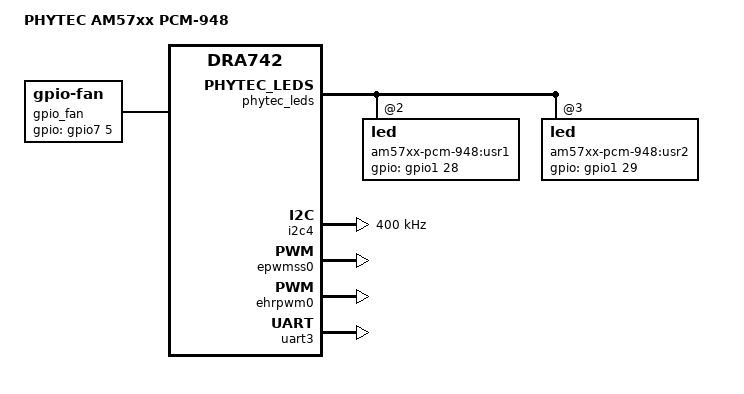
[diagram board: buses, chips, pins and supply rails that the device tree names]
/*
 * Copyright (C) 2014 Texas Instruments Incorporated - http://www.ti.com/
 *
 * This program is free software; you can redistribute it and/or modify
 * it under the terms of the GNU General Public License version 2 as
 * published by the Free Software Foundation.
 */
/ {
	model = "PHYTEC AM57xx PCM-948";
	compatible = "phytec,am57xx-pcm-948", "phytec,am57xx-phycore-som", "ti,am5728", "ti,dra742", "ti,dra74", "ti,dra7";

	hdmi0: connector {
		compatible = "hdmi-connector";
		status = "disabled";
		label = "hdmi";

		type = "a";

		port {
			hdmi_connector_in: endpoint {
				remote-endpoint = <&tpd12s521_out>;
			};
		};
	};

	tpd12s521: encoder {
		compatible = "ti,tpd12s521";
		status = "disabled";

		gpios = <&gpio7 12 GPIO_ACTIVE_HIGH>;	/* gpio7_12/sp1_cs2, HPD */

		ports {
			#address-cells = <1>;
			#size-cells = <0>;

			port@0 {
				reg = <0>;

				tpd12s521_in: endpoint {
					remote-endpoint = <&hdmi_out>;
				};
			};

			port@1 {
				reg = <1>;

				tpd12s521_out: endpoint {
					remote-endpoint = <&hdmi_connector_in>;
				};
			};
		};
	};

	rdk_audio: sound {
		compatible = "simple-audio-card";
		status = "disabled";
		simple-audio-card,name = "phyCORE-AM57xx-RDK";
		simple-audio-card,widgets =
			"Line", "Line Out",
			"Line", "Line In",
			"Microphone", "Mic Jack",
			"Headphone", "HP Jack";
		simple-audio-card,routing =
			"Line Out",	"LLOUT",
			"Line Out",	"RLOUT",

			"LINE1R",	"Line In",
			"LINE1R",	"Line In",

			"MIC3L",	"Mic Jack",
			"MIC3R",	"Mic Jack",
			"Mic Jack",	"Mic Bias",

			"HP Jack",	"HPLOUT",
			"HP Jack",	"HPROUT";
		simple-audio-card,format = "dsp_b";
		simple-audio-card,bitclock-master = <&sound_master>;
		simple-audio-card,frame-master = <&sound_master>;
		simple-audio-card,bitclock-inversion;

		simple-audio-card,cpu {
			sound-dai = <&mcasp1>;
		};

		sound_master: simple-audio-card,codec {
			sound-dai = <&tlv320aic3007>;
			clocks = <&clkout2_clk>;
		};
	};

	gpio_fan: gpio_fan {
		compatible = "gpio-fan";
		pinctrl-names = "default";
		pinctrl-0 = <&fan_pins_default>;

		gpios =  <&gpio7 5 GPIO_ACTIVE_HIGH>;
		gpio-fan,speed-map = <0    0
				      13000 1>;
		cooling-min-state = <0>;
		cooling-max-state = <1>;
		#cooling-cells = <2>;
	};

};

&dra7_pmx_core {
	leds_cb_pins_default: leds_cb_pins_default {
		pinctrl-single,pins = <
			0x58 (PIN_OUTPUT | MUX_MODE14)	/* gpmc_a6.gpio1_28 */
			0x5c (PIN_OUTPUT | MUX_MODE14)	/* gpmc_a7.gpio1_29 */
		>;
	};

	leds_cb_pins_sleep: leds_cb_pins_sleep {
		pinctrl-single,pins = <
			0x58 (PIN_INPUT_PULLDOWN | MUX_MODE15)
			0x5c (PIN_INPUT_PULLDOWN | MUX_MODE15)
		>;
	};

	fan_pins_default: fan_pins_default {
		pinctrl-single,pins = <
			0x48 (PIN_OUTPUT | MUX_MODE14)	/* gpmc_a2.gpio7_5 */
		>;
	};

	i2c2_pins: pinmux_i2c2_pins {
		pinctrl-single,pins = <
			0x408 (PIN_INPUT | MUX_MODE1)	/* hdmi1_ddc_scl */
			0x40c (PIN_INPUT | MUX_MODE1)	/* hdmi1_ddc_sda */
		>;
	};

	i2c4_pins_default: i2c4_pins_default {
		pinctrl-single,pins = <
			0x40 (PIN_INPUT_PULLUP | MUX_MODE7)	/* gpmc_a0.i2c4_scl */
			0x44 (PIN_INPUT_PULLUP | MUX_MODE7)	/* gpmc_a1.i2c4_sda */
		>;
	};

	i2c4_pins_sleep: i2c4_pins_sleep {
		pinctrl-single,pins = <
			0x40 (PIN_INPUT | MUX_MODE15)
			0x44 (PIN_INPUT | MUX_MODE15)
		>;
	};

	uart3_pins_default: uart3_pins_default {
		pinctrl-single,pins = <
			0x248 (PIN_INPUT_SLEW | MUX_MODE0) /* uart3_rxd.rxd */
			0x24c (PIN_INPUT_SLEW | MUX_MODE0) /* uart3_txd.txd */
		>;
	};

	uart3_pins_sleep: uart3_pins_sleep{
		pinctrl-single,pins = <
			0x248 (PIN_INPUT | MUX_MODE15)
			0x24c (PIN_INPUT | MUX_MODE15)
		>;
	};

	uart5_pins_default: uart5_pins_default {
		pinctrl-single,pins = <
			0x1dc (PIN_INPUT_SLEW | MUX_MODE2) /* vout1_d0.uart5_rxd */
			0x1e0 (PIN_INPUT_SLEW | MUX_MODE2) /* vout1_d1.uart5_txd */
		>;
	};

	uart5_pins_sleep: uart5_pins_sleep{
		pinctrl-single,pins = <
			0x1dc (PIN_INPUT | MUX_MODE15)
			0x1e0 (PIN_INPUT | MUX_MODE15)
		>;
	};


	mmc1_pins_default: mmc1_pins_default {
		pinctrl-single,pins = <
			0x36c (PIN_INPUT | MUX_MODE14)	/* mmc1sdcd.gpio6_27 */
			0x354 (PIN_INPUT_PULLUP | MUX_MODE0) /* mmc1_clk.clk */
			0x358 (PIN_INPUT_PULLUP | MUX_MODE0) /* mmc1_cmd.cmd */
			0x35c (PIN_INPUT_PULLUP | MUX_MODE0) /* mmc1_dat0.dat0 */
			0x360 (PIN_INPUT_PULLUP | MUX_MODE0) /* mmc1_dat1.dat1 */
			0x364 (PIN_INPUT_PULLUP | MUX_MODE0) /* mmc1_dat2.dat2 */
			0x368 (PIN_INPUT_PULLUP | MUX_MODE0) /* mmc1_dat3.dat3 */
		>;
	};

	mmc1_pins_sleep: mmc1_pins_sleep {
		pinctrl-single,pins = <
			0x354 (PIN_INPUT | MUX_MODE15)
			0x358 (PIN_INPUT | MUX_MODE15)
			0x35c (PIN_INPUT | MUX_MODE15)
			0x360 (PIN_INPUT | MUX_MODE15)
			0x364 (PIN_INPUT | MUX_MODE15)
			0x368 (PIN_INPUT | MUX_MODE15)
			0x36c (PIN_INPUT | MUX_MODE15)
		>;
	};

	mmc1_pins_hs: mmc1_pins_hs {
		pinctrl-single,pins = <
			0x354 (PIN_INPUT_PULLUP | MUX_VIRTUAL_MODE11 | MUX_MODE0)       /* mmc1_clk.clk */
			0x358 (PIN_INPUT_PULLUP | MUX_VIRTUAL_MODE11 | MUX_MODE0)       /* mmc1_cmd.cmd */
			0x35c (PIN_INPUT_PULLUP | MUX_VIRTUAL_MODE11 | MUX_MODE0)       /* mmc1_dat0.dat0 */
			0x360 (PIN_INPUT_PULLUP | MUX_VIRTUAL_MODE11 | MUX_MODE0)       /* mmc1_dat1.dat1 */
			0x364 (PIN_INPUT_PULLUP | MUX_VIRTUAL_MODE11 | MUX_MODE0)       /* mmc1_dat2.dat2 */
			0x368 (PIN_INPUT_PULLUP | MUX_VIRTUAL_MODE11 | MUX_MODE0)       /* mmc1_dat3.dat3 */
		>;
	};

	wlan_pins_default: wlan_pins_default {
		pinctrl-single,pins = <
			0x39c (PIN_OUTPUT_PULLDOWN | MUX_MODE14) /* mmc3_dat6.gpio1_24 */
			0x3a0 (PIN_INPUT_PULLDOWN | MUX_MODE14)  /* mmc3_dat7.gpio1_25 */
		>;
	};

	bt_pins_default: bt_pins_default {
		pinctrl-single,pins = <
			0x170 (PIN_INPUT_SLEW | MUX_MODE8) /* vin2a_d2.uart10.rxd */
			0x174 (PIN_INPUT_SLEW | MUX_MODE8) /* vin2a_d3.uart10.txd */
			0x178 (PIN_INPUT_SLEW | MUX_MODE8) /* vin2a_d4.uart10.ctsn */
			0x17c (PIN_INPUT_SLEW | MUX_MODE8) /* vin2a_d5.uart10.rtsn */
			0x394 (PIN_OUTPUT_PULLDOWN | MUX_MODE14) /* mmc3_dat4.gpio1_22 */
		>;
	};

	bt_pins_sleep: bt_pins_sleep {
		pinctrl-single,pins = <
			0x170 (PIN_INPUT | MUX_MODE15)
			0x174 (PIN_INPUT | MUX_MODE15)
			0x178 (PIN_INPUT | MUX_MODE15)
			0x17c (PIN_INPUT | MUX_MODE15)
			0x394 (PIN_OUTPUT_PULLUP | MUX_MODE14)
		>;
	};

	emac1_pins_default: emac1_pins_default {
		pinctrl-single,pins = <
			/* Slave 2 */
			0x198 (PIN_OUTPUT | MUX_MODE3)	/* rgmii2_tclk */
			0x19c (PIN_OUTPUT | MUX_MODE3)	/* rgmii2_tctl */
			0x1a0 (PIN_OUTPUT | MUX_MODE3)	/* rgmii2_td3 */
			0x1a4 (PIN_OUTPUT | MUX_MODE3)	/* rgmii2_td2 */
			0x1a8 (PIN_OUTPUT | MUX_MODE3)	/* rgmii2_td1 */
			0x1ac (PIN_OUTPUT | MUX_MODE3)	/* rgmii2_td0 */
			0x1b0 (PIN_INPUT | MUX_MODE3)	/* rgmii2_rclk */
			0x1b4 (PIN_INPUT | MUX_MODE3)	/* rgmii2_rctl */
			0x1b8 (PIN_INPUT | MUX_MODE3)	/* rgmii2_rd3 */
			0x1bc (PIN_INPUT | MUX_MODE3)	/* rgmii2_rd2 */
			0x1c0 (PIN_INPUT | MUX_MODE3)	/* rgmii2_rd1 */
			0x1c4 (PIN_INPUT | MUX_MODE3)	/* rgmii2_rd0 */
		>;

	};

	emac1_pins_sleep: emac1_pins_sleep {
		pinctrl-single,pins = <
			/* Slave 2 */
			0x198 (PIN_INPUT | MUX_MODE15)
			0x19c (PIN_INPUT | MUX_MODE15)
			0x1a0 (PIN_INPUT | MUX_MODE15)
			0x1a4 (PIN_INPUT | MUX_MODE15)
			0x1a8 (PIN_INPUT | MUX_MODE15)
			0x1ac (PIN_INPUT | MUX_MODE15)
			0x1b0 (PIN_INPUT | MUX_MODE15)
			0x1b4 (PIN_INPUT | MUX_MODE15)
			0x1b8 (PIN_INPUT | MUX_MODE15)
			0x1bc (PIN_INPUT | MUX_MODE15)
			0x1c0 (PIN_INPUT | MUX_MODE15)
			0x1c4 (PIN_INPUT | MUX_MODE15)
		>;
	};

	hdmi_pins: pinmux_hdmi_pins {
		pinctrl-single,pins = <
			0x3b8 (PIN_INPUT_PULLDOWN | MUX_MODE14) /* spi1_cs2.gpio7_12 */
			0x3bc (PIN_INPUT_SLEW | MUX_MODE6)      /* spi1_cs3.hdmi1_cec */
		>;
	};

	usb1_pins: pinmux_usb1_pins {
		pinctrl-single,pins = <
			0x280 (PIN_INPUT_SLEW | MUX_MODE0) /* usb1_drvvbus */
			0x22c (PIN_INPUT | MUX_MODE14)     /* vout1_d20.gpio8_20 */
		>;
	};

	usb2_pins_default: pinmux_usb2_pins_default {
		pinctrl-single,pins = <
			0x1d0 (PIN_INPUT | MUX_MODE14)	   /* vout1_fld.gpio4_21 */
			0x284 (PIN_INPUT_SLEW | MUX_MODE0) /* usb2_drvvbus */
			0x230 (PIN_INPUT | MUX_MODE14)     /* vout1_d21.gpio8_21 */
		>;
	};

	usb2_pins_sleep: pinmux_usb2_pins_sleep {
		pinctrl-single,pins = <
			0x1d0 (PIN_INPUT | MUX_MODE14)	   /* vout1_fld.gpio4_21 */
			0x284 (PIN_INPUT_SLEW | MUX_MODE15) /* usb2_drvvbus */
			0x230 (PIN_INPUT | MUX_MODE14)     /* vout1_d21.gpio8_21 */
		>;
	};

	extcon_pins_default:  extcon_pins_default {
		pinctrl-single,pins = <
			0x1f4 (PIN_INPUT | MUX_MODE14) /* vout1_d6.gpio8_6 */
		>;
	};

	clkout2_pins_default: clkout2_pins_default {
		pinctrl-single,pins = <
			0x294 (PIN_INPUT_PULLDOWN | MUX_MODE9)	/* xref_clk0.clkout2 */
		>;
	};

	clkout2_pins_sleep: clkout2_pins_sleep {
		pinctrl-single,pins = <
			0x294 (PIN_INPUT | MUX_MODE15)	/* xref_clk0.clkout2 */
		>;
	};

	dcan1_pins: dcan1_pins {
		pinctrl-single,pins = <
			0x3d0 (PIN_OUTPUT_PULLUP | MUX_MODE0) /* dcan1_tx.tx */
			0x3d4 (PIN_INPUT_PULLUP | MUX_MODE0) /* dcan1_rx.rx */
		>;
	};

	dcan2_pins: dcan2_pins {
		pinctrl-single,pins = <
			0x288 (PIN_OUTPUT_PULLUP | MUX_MODE2) /* gpio6_14.dcan2_tx */
			0x28c (PIN_INPUT_PULLUP | MUX_MODE2) /* gpio6_15.dcan2_rx */
		>;
	};

	mcasp1_pins_default: mcasp1_pins_default {
		pinctrl-single,pins = <
			0x2a4 (PIN_INPUT_PULLDOWN | MUX_MODE0) /* mcasp1_aclkx.aclkx */
			0x2a8 (PIN_INPUT_PULLDOWN | MUX_MODE0) /* mcasp1_fsx.fsx */
			0x2ec (PIN_OUTPUT_PULLDOWN | MUX_MODE0) /* mcasp1_axr14.axr14 */
			0x2f0 (PIN_INPUT_PULLDOWN | MUX_MODE0) /* mcasp1_axr15.axr15 */
		>;
	};

	mcasp1_pins_sleep: mcasp1_pins_sleep {
		pinctrl-single,pins = <
			0x2a4 (PIN_INPUT | MUX_MODE15)
			0x2a8 (PIN_INPUT | MUX_MODE15)
			0x2ec (PIN_INPUT | MUX_MODE15)
			0x2f0 (PIN_INPUT | MUX_MODE15)
		>;
	};

	ehrpwm1a_pin: ehrpwm1a_pin {
		pinctrl-single,pins = <
			0xf4 (PIN_OUTPUT_PULLDOWN | MUX_MODE10) /* vin1a_d0.ehrpwm1A */
		>;
	};

	edt_ts_irq_pin: edt_ts_irq_pin {
		pinctrl-single,pins = <
			0x234 (PIN_INPUT_PULLUP | MUX_MODE14) /* vout1_d22.gpio8_22 */
		>;
	};

	display_en_pin: display_en_pin {
		pinctrl-single,pins = <
			0x238 (PIN_OUTPUT_PULLDOWN | MUX_MODE14) /* vout1_d23.gpio8_23 */
		>;
	};

	pcie1_pins: pcie1_pins {
		pinctrl-single,pins = <
			0x1e8 (PIN_INPUT | MUX_MODE14)	/* vout1_d3.gpio8_3 */
			0x1ec (PIN_OUTPUT_PULLDOWN | MUX_MODE14) /* vout1_d4.gpio8_4 */
			0x1f0 (PIN_INPUT | MUX_MODE14)	/* vout1_d5.gpio8_5 */
			0x1f8 (PIN_OUTPUT | MUX_MODE14)	/* vout1_d7.gpio8_7 */
		>;
	};

};

&phytec_leds {
		pinctrl-0 = <&leds_som_pins_default &leds_cb_pins_default>;

		led@2 {
			label = "am57xx-pcm-948:usr1";
			gpios = <&gpio1 28 GPIO_ACTIVE_HIGH>;
			linux,default-trigger = "gpio";
			default-state = "off";
		};

		led@3 {
			label = "am57xx-pcm-948:usr2";
			gpios = <&gpio1 29 GPIO_ACTIVE_HIGH>;
			linux,default-trigger = "gpio";
			default-state = "off";
		};
};

&tps659038 {
	tps659038_usb: tps659038_usb {
		status = "disabled";
		compatible = "ti,palmas-usb-vid";
		pinctrl-names = "default";
		pinctrl-0 = <&extcon_pins_default>;
		ti,enable-vbus-detection;
		ti,enable-id-detection;
		id-gpios = <&gpio8 6 GPIO_ACTIVE_HIGH>;
	};
};

&i2c4 {
	status = "okay";
	pinctrl-names = "default", "sleep";
	pinctrl-0 = <&i2c4_pins_default>;
	pinctrl-1 = <&i2c4_pins_sleep>;
	clock-frequency = <400000>;

	tlv320aic3007: tlv320aic3007@18 {
		#sound-dai-cells = <0>;
		compatible = "ti,tlv320aic3007";
		reg = <0x18>;
		pinctrl-names = "default", "sleep";
		pinctrl-0 = <&clkout2_pins_default>;
		pinctrl-1 = <&clkout2_pins_sleep>;
		status = "disabled";
		ai3x-micbias-vg = <2>;
		adc-settle-ms = <40>;

		AVDD-supply = <&vdd_3v3>;
		IOVDD-supply = <&vdd_3v3>;
		DRVDD-supply = <&vdd_3v3>;
		DVDD-supply = <&aic_dvdd>;
	};

	ft5406: ft5406@38 {
		pinctrl-names = "default";
		pinctrl-0 = <&edt_ts_irq_pin>;
		interrupt-parent = <&gpio8>;
		interrupts = <22 0>;
		status = "disabled";
	};

	stmpe811: stmpe811@41 {
		compatible = "st,stmpe811";
		status = "disabled";
		reg = <0x41>;
		interrupt-parent = <&gpio6>;
		interrupts = <4 IRQ_TYPE_LEVEL_LOW>;
		interrupt-controller;

		wakeup-source;
		st,autosleep-timeout = <1024>;

		stmpe_touchscreen {
			compatible = "st,stmpe-ts";
			st,sample-time = <4>;
			st,mod-12b = <1>;
			st,ref-sel = <0>;
			st,adc-freq = <1>;
			st,ave-ctrl = <1>;
			st,touch-det-delay = <2>;
			st,settling = <2>;
			st,fraction-z = <7>;
			st,i-drive = <1>;
		};
	};
};

&epwmss0 {
	status = "okay";
};

/* ehrpwm0 maps to EHRPWM1 signal name */
&ehrpwm0 {
	status = "okay";
};

#include "am57xx-phytec-lcd-018.dtsi"

&lcd0 {
	status = "disabled";
	pinctrl-names = "default";
	pinctrl-0 = <&lcd_pins &display_en_pin>;

	enable-gpios = <&gpio8 23 GPIO_ACTIVE_LOW>;
};

&backlight {
	status = "disabled";
	pinctrl-names = "default";
	pinctrl-0 = <&ehrpwm1a_pin>;

	pwms = <&ehrpwm0 0 50000 0>;
};

&uart3 {
        status = "okay";
        pinctrl-names = "default";
        pinctrl-0 = <&uart3_pins_default>;

	interrupts-extended = <&crossbar_mpu GIC_SPI 69 IRQ_TYPE_LEVEL_HIGH
			       &dra7_pmx_core 0x248>;
};

&uart5 {
        status = "disabled";
        pinctrl-names = "default", "sleep";
        pinctrl-0 = <&uart5_pins_default>;
        pinctrl-1 = <&uart5_pins_sleep>;

	interrupts-extended = <&crossbar_mpu GIC_SPI 100 IRQ_TYPE_LEVEL_HIGH
			       &dra7_pmx_core 0x1dc>;
};

&mac {
	slaves = <2>;
	pinctrl-names = "default", "sleep";
	pinctrl-0 = <&emac0_pins_default &emac1_pins_default>;
	pinctrl-1 = <&emac0_pins_sleep &emac1_pins_sleep>;
	dual_emac;
};

&cpsw_emac1 {
	phy_id = <&davinci_mdio>, <2>;
	phy-mode = "rgmii";
	dual_emac_res_vlan = <2>;
	status = "disabled";
};

&mmc1 {
	status = "disabled";
	pinctrl-names = "default", "sleep", "hs";
	pinctrl-0 = <&mmc1_pins_default>;
	pinctrl-1 = <&mmc1_pins_sleep>;
	pinctrl-2 = <&mmc1_pins_hs>;
	vmmc-supply = <&ldo1_reg>;
	bus-width = <4>;
	cd-gpios = <&gpio6 27 0>; /* gpio 219 */
	max-frequency = <96000000>;
};

#include "am57xx-phytec-wlan-wilink8.dtsi"

&wlan_fixed {
	pinctrl-names = "default";
	pinctrl-0 = <&wlan_pins_default>;

	gpio = <&gpio1 24 GPIO_ACTIVE_HIGH>;
	enable-active-high;
};

&wlcore {
	interrupt-parent = <&gpio1>;
	interrupts = <25 IRQ_TYPE_EDGE_RISING>;
};

&bt_kim {
	pinctrl-names = "default", "sleep";
	pinctrl-0 = <&bt_pins_default>;
	pinctrl-1 = <&bt_pins_sleep>;
	nshutdown_gpio = <22>;  /* GPIO1_22 */
	dev_name = "/dev/ttyS9"; /* UART10 for BT */
};

&dss {
	vdda_video-supply = <&ldoln_reg>;
};

&hdmi {
	status = "disabled";
	vdda-supply = <&ldo4_reg>;
	pinctrl-names = "default";
	pinctrl-0 = <&hdmi_pins &i2c2_pins>;

	port {
		hdmi_out: endpoint {
			remote-endpoint = <&tpd12s521_in>;
		};
	};
};

&pcie1 {
	status = "disabled";
	pinctrl-names = "default";
	pinctrl-0 = <&pcie1_pins>;

/* FIXME (RR): pci-dra7xx driver ignores the GPIO_ACTIVE_ flags
 *             and only cares about pcie-reset-active-low */
	pcie-reset-active-low;
	pcie-clk-oe-gpio = <&gpio8 7 GPIO_ACTIVE_HIGH>;
	pcie-reset-gpio = <&gpio8 4 GPIO_ACTIVE_LOW>; /* PWRGD (X27-A11) */
};

&usb2_phy1 {
       phy-supply = <&ldousb_reg>;
};

&usb2_phy2 {
       phy-supply = <&ldousb_reg>;
};

&usb1 {
	status = "disabled";
	dr_mode = "host";
	pinctrl-names = "default";
	pinctrl-0 = <&usb1_pins>;
};

&omap_dwc3_2 {
	status = "disabled";
	extcon = <&tps659038_usb>;
};

&usb2 {
	status = "disabled";
	pinctrl-names = "default", "sleep";
	pinctrl-0 = <&usb2_pins_default>;
	pinctrl-1 = <&usb2_pins_sleep>;
};

&dcan1 {
	status = "disabled";
	pinctrl-names = "default";
	pinctrl-0 = <&dcan1_pins>;
};

&dcan2 {
	status = "disabled";
	pinctrl-names = "default";
	pinctrl-0 = <&dcan2_pins>;
};

&mcasp1 {
	#sound-dai-cells = <0>;
	status = "disabled";
	pinctrl-names = "default", "sleep";
	pinctrl-0 = <&mcasp1_pins_default>;
	pinctrl-1 = <&mcasp1_pins_sleep>;

	op-mode = <0>;  /* MCASP_IIS_MODE */
	tdm-slots = <2>;
	/* mcasp1_axr14 = TX, mcasp1_axr15 = RX */
	serial-dir = <  /* 0: INACTIVE, 1: TX, 2: RX */
		0 0 0 0
		0 0 0 0
		0 0 0 0
		0 0 1 2
	>;
	tx-num-evt = <8>;
	rx-num-evt = <8>;
};

&cpu_trips {
	cpu_alert1: cpu_alert1 {
		temperature = <75000>; /* millicelsius */
		hysteresis = <2000>; /* millicelsius */
		type = "active";
	};
};

&cpu_cooling_maps {
	map1 {
		trip = <&cpu_alert1>;
		cooling-device = <&gpio_fan THERMAL_NO_LIMIT THERMAL_NO_LIMIT>;
	};
};
